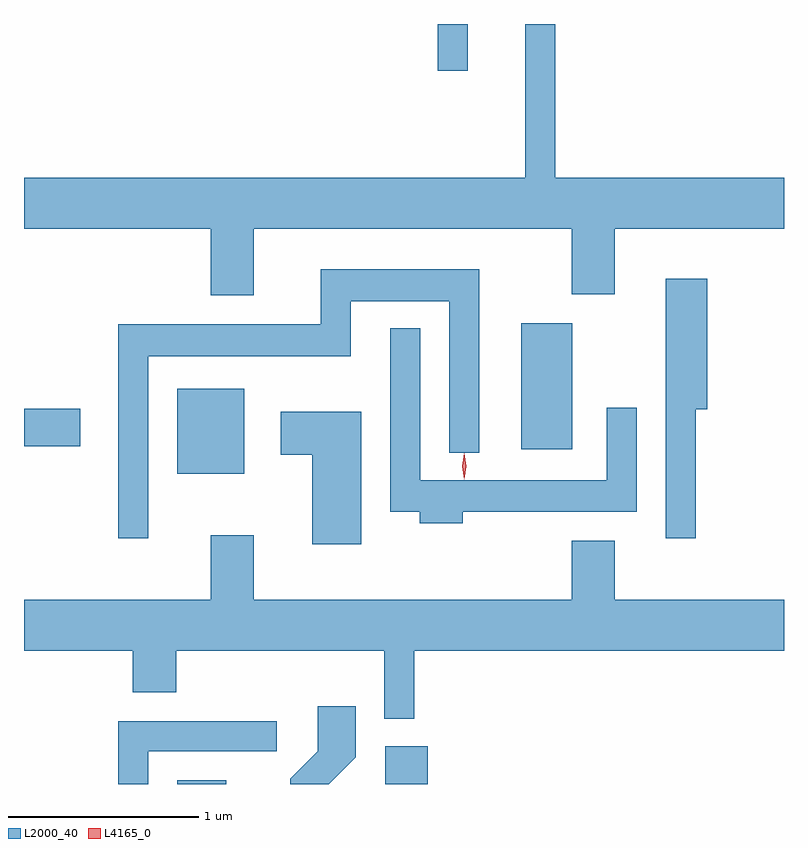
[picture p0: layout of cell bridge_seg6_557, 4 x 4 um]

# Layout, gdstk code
import gdstk
lib = gdstk.Library(unit=1e-6, precision=1e-09)
def R(c, l, rs):  # rectangles x0, y0, x1, y1
    for r in rs: c.add(gdstk.rectangle(r[:2], r[2:], *l))
def P(c, l, *ps):  # polygons
    for p in ps: c.add(gdstk.Polygon(p, *l))
L2000_40 = (2000, 40)
L4165_0 = (4165, 0)

bridge_seg6_557 = lib.new_cell('bridge_seg6_557')
R(bridge_seg6_557, L2000_40, [(403.626,1604.834,403.884,1604.854), (404.721,1604.834,404.944,1605.034), (403.626,1606.466,403.979,1606.914), (405.436,1606.596,405.704,1607.259), (402.819,1606.611,403.114,1606.809), (404.996,1608.588,405.154,1608.834)])
P(bridge_seg6_557, L2000_40, [(404.029,1607.756),(405.701,1607.756),(405.701,1607.411),(405.929,1607.411),(405.929,1607.756),(406.819,1607.756),(406.819,1608.024),(405.614,1608.024),(405.614,1608.833),(405.456,1608.833),(405.456,1608.024),(402.819,1608.024),(402.819,1607.756),(403.801,1607.756),(403.801,1607.406),(404.029,1607.406)],
  [(403.474,1607.086),(404.539,1607.086),(404.539,1607.376),(405.056,1607.376),(405.056,1606.578),(405.214,1606.578),(405.214,1607.544),(404.381,1607.544),(404.381,1607.254),(403.316,1607.254),(403.316,1606.128),(403.474,1606.128)],
  [(406.354,1606.806),(406.414,1606.806),(406.414,1607.494),(406.196,1607.494),(406.196,1606.128),(406.354,1606.128)],
  [(405.129,1606.266),(406.044,1606.266),(406.044,1606.813),(405.886,1606.813),(405.886,1606.434),(404.904,1606.434),(404.904,1607.233),(404.746,1607.233),(404.746,1606.266),(404.901,1606.266),(404.901,1606.206),(405.129,1606.206)],
  [(404.594,1606.794),(404.171,1606.794),(404.171,1606.566),(404.336,1606.566),(404.336,1606.096),(404.594,1606.096)],
  [(402.819,1605.536),(403.391,1605.536),(403.391,1605.316),(403.619,1605.316),(403.619,1605.536),(404.716,1605.536),(404.716,1605.178),(404.874,1605.178),(404.874,1605.536),(406.819,1605.536),(406.819,1605.804),(405.929,1605.804),(405.929,1606.114),(405.701,1606.114),(405.701,1605.804),(404.029,1605.804),(404.029,1606.144),(403.801,1606.144),(403.801,1605.804),(402.819,1605.804)],
  [(404.564,1604.974),(404.564,1605.244),(404.366,1605.244),(404.366,1605.007),(404.221,1604.862),(404.221,1604.834),(404.424,1604.834)],
  [(403.474,1605.006),(404.148,1605.006),(404.148,1605.164),(403.316,1605.164),(403.316,1604.834),(403.474,1604.834)])
P(bridge_seg6_557, L4165_0, [(405.135,1606.437),(405.125,1606.507),(405.135,1606.576),(405.136,1606.576),(405.136,1606.576),(405.146,1606.507),(405.136,1606.437),(405.136,1606.437)],
  [(405.135,1606.439),(405.135,1606.44),(405.125,1606.506),(405.135,1606.572),(405.135,1606.573),(405.136,1606.572),(405.145,1606.506),(405.136,1606.44)])

lib.write_gds('bridge_seg6_557.gds')
